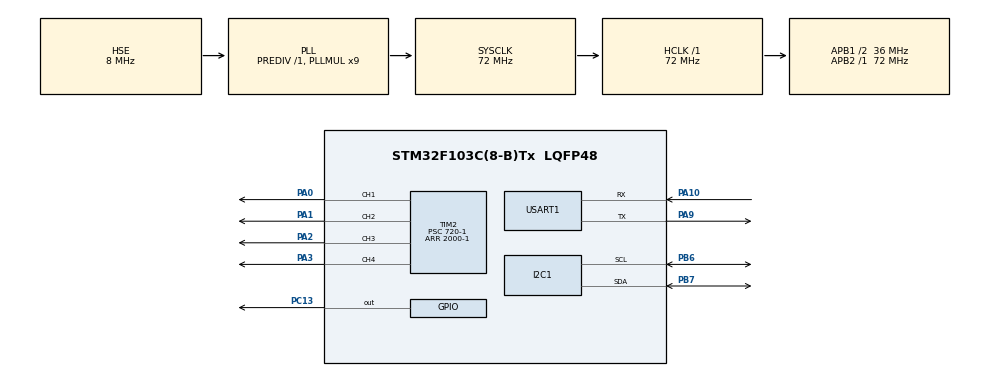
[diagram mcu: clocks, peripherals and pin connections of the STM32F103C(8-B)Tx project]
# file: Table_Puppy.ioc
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Dma.Request0=USART1_RX
Dma.Request1=USART1_TX
Dma.USART1_RX.0.Direction=DMA_PERIPH_TO_MEMORY
Dma.USART1_RX.0.Instance=DMA1_Channel5
Dma.USART1_RX.0.MemDataAlignment=DMA_MDATAALIGN_BYTE
Dma.USART1_RX.0.MemInc=DMA_MINC_ENABLE
Dma.USART1_RX.0.Mode=DMA_NORMAL
Dma.USART1_RX.0.PeriphDataAlignment=DMA_PDATAALIGN_BYTE
Dma.USART1_RX.0.PeriphInc=DMA_PINC_DISABLE
Dma.USART1_RX.0.Priority=DMA_PRIORITY_LOW
Dma.USART1_TX.1.Direction=DMA_MEMORY_TO_PERIPH
Dma.USART1_TX.1.Instance=DMA1_Channel4
Dma.USART1_TX.1.MemDataAlignment=DMA_MDATAALIGN_BYTE
Dma.USART1_TX.1.MemInc=DMA_MINC_ENABLE
Dma.USART1_TX.1.Mode=DMA_NORMAL
Dma.USART1_TX.1.PeriphDataAlignment=DMA_PDATAALIGN_BYTE
Dma.USART1_TX.1.PeriphInc=DMA_PINC_DISABLE
Dma.USART1_TX.1.Priority=DMA_PRIORITY_LOW
I2C1.I2C_Mode=I2C_Fast
Mcu.Family=STM32F1
Mcu.Name=STM32F103C(8-B)Tx
Mcu.Package=LQFP48
NVIC.DMA1_Channel4_IRQn=true\:0\:0\:false\:false\:true\:false\:true\:true
NVIC.DMA1_Channel5_IRQn=true\:0\:0\:false\:false\:true\:false\:true\:true
NVIC.PriorityGroup=NVIC_PRIORITYGROUP_4
NVIC.USART1_IRQn=true\:0\:0\:false\:false\:true\:false\:true\:true
PA0-WKUP.Signal=S_TIM2_CH1_ETR
PA1.Signal=S_TIM2_CH2
PA10.Mode=Asynchronous
PA10.Signal=USART1_RX
PA13.Mode=Serial_Wire
PA13.Signal=SYS_JTMS-SWDIO
PA14.Mode=Serial_Wire
PA14.Signal=SYS_JTCK-SWCLK
PA2.Signal=S_TIM2_CH3
PA3.Signal=S_TIM2_CH4
PA9.Mode=Asynchronous
PA9.Signal=USART1_TX
PB6.Mode=I2C
PB6.Signal=I2C1_SCL
PB7.Mode=I2C
PB7.Signal=I2C1_SDA
PC13-TAMPER-RTC.Signal=GPIO_Output
PD0-OSC_IN.Mode=HSE-External-Oscillator
PD0-OSC_IN.Signal=RCC_OSC_IN
PD1-OSC_OUT.Mode=HSE-External-Oscillator
PD1-OSC_OUT.Signal=RCC_OSC_OUT
ProjectManager.HeapSize=0x200
ProjectManager.StackSize=0x400
ProjectManager.TargetToolchain=MDK-ARM V5.32
RCC.AHBFreq_Value=72000000
RCC.APB1CLKDivider=RCC_HCLK_DIV2
RCC.APB1Freq_Value=36000000
RCC.APB1TimFreq_Value=72000000
RCC.APB2Freq_Value=72000000
RCC.APB2TimFreq_Value=72000000
RCC.HCLKFreq_Value=72000000
RCC.PLLMUL=RCC_PLL_MUL9
RCC.PLLSourceVirtual=RCC_PLLSOURCE_HSE
RCC.SYSCLKFreq_VALUE=72000000
RCC.SYSCLKSource=RCC_SYSCLKSOURCE_PLLCLK
RCC.USBFreq_Value=72000000
SH.S_TIM2_CH1_ETR.0=TIM2_CH1,PWM Generation1 CH1
SH.S_TIM2_CH2.0=TIM2_CH2,PWM Generation2 CH2
SH.S_TIM2_CH3.0=TIM2_CH3,PWM Generation3 CH3
SH.S_TIM2_CH4.0=TIM2_CH4,PWM Generation4 CH4
TIM2.Channel-PWM\ Generation1\ CH1=TIM_CHANNEL_1
TIM2.Channel-PWM\ Generation2\ CH2=TIM_CHANNEL_2
TIM2.Channel-PWM\ Generation3\ CH3=TIM_CHANNEL_3
TIM2.Channel-PWM\ Generation4\ CH4=TIM_CHANNEL_4
TIM2.Period=2000-1
TIM2.Prescaler=720-1
USART1.VirtualMode=VM_ASYNC
VP_TIM2_VS_ClockSourceINT.Mode=Internal
board=custom

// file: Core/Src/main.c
/* USER CODE BEGIN Header */
/**
  ******************************************************************************
  * @file           : main.c
  * @brief          : Main program body
  ******************************************************************************
  * @attention
  *
  * Copyright (c) 2024 STMicroelectronics.
  * All rights reserved.
  *
  * This software is licensed under terms that can be found in the LICENSE file
  * in the root directory of this software component.
  * If no LICENSE file comes with this software, it is provided AS-IS.
  *
  ******************************************************************************
  */
/* USER CODE END Header */
#include "main.h"
#include "dma.h"
#include "i2c.h"
#include "tim.h"
#include "usart.h"
#include "gpio.h"

/* USER CODE BEGIN Includes */
#include "oled.h"
/* USER CODE END Includes */

/* USER CODE BEGIN PTD */
uint8_t bluetoothBuff[50]; // 蓝牙接收数据
                           // eg:  0xAA 0x04 0x01 0xAF;
                           // 说明: 包头  包长  指令  校验和
/* USER CODE END PTD */

/* USER CODE BEGIN PD */
void HAL_UARTEx_RxEventCallback(UART_HandleTypeDef *huart, uint16_t Size)
{
  uint8_t sum = 0;  // 数据包校验和
  uint8_t flag = 0; // 校验成功标志
  if (huart->Instance == USART1)
  {
    if (bluetoothBuff[0] == 0xAA && bluetoothBuff[1] == Size) // 校验数据包
    {
      for (int i = 0; i < Size - 1; i++)
      {
        sum += bluetoothBuff[i];
      }
      if (sum == bluetoothBuff[Size - 1])
      {
        flag = 1;
      }
    }
    if (flag)
    {
      for (int i = 2; i < Size - 1; i++)
      {
        switch (bluetoothBuff[i])
        {

        case 0x01:
          HAL_Delay(100);
          break;

        default:
          break;
        }
      }
      flag = 0;
    }

    HAL_UARTEx_ReceiveToIdle_DMA(&huart1, bluetoothBuff, sizeof(bluetoothBuff));
    __HAL_DMA_DISABLE_IT(&hdma_usart1_rx, DMA_IT_HT);
  }
}
/* USER CODE END PD */

void SystemClock_Config(void);

int main(void)
{

  /* MCU Configuration--------------------------------------------------------*/

  /* Reset of all peripherals, Initializes the Flash interface and the Systick. */
  HAL_Init();

  /* Configure the system clock */
  SystemClock_Config();

  /* Initialize all configured peripherals */
  MX_GPIO_Init();
  MX_DMA_Init();
  MX_TIM2_Init();
  MX_USART1_UART_Init();
  MX_I2C1_Init();
  /* USER CODE BEGIN 2 */
  HAL_TIM_PWM_Start(&htim2,TIM_CHANNEL_1);
  HAL_TIM_PWM_Start(&htim2,TIM_CHANNEL_2);
  HAL_TIM_PWM_Start(&htim2,TIM_CHANNEL_3);
  HAL_TIM_PWM_Start(&htim2,TIM_CHANNEL_4);

  __HAL_UART_ENABLE_IT(&huart1, UART_IT_IDLE);
  HAL_UARTEx_ReceiveToIdle_DMA(&huart1, bluetoothBuff, sizeof(bluetoothBuff));
  __HAL_DMA_DISABLE_IT(&hdma_usart1_rx, DMA_IT_HT);

  OLED_Init();

  /* USER CODE END 2 */

  /* Infinite loop */
  /* USER CODE BEGIN WHILE */
  while (1)
  {

    OLED_NewFrame();
    OLED_DrawImage(20, 0, &littledog3Img, OLED_COLOR_NORMAL);
    OLED_ShowFrame();

    /* USER CODE END WHILE */

  }
}

void SystemClock_Config(void)
{
  RCC_OscInitTypeDef RCC_OscInitStruct = {0};
  RCC_ClkInitTypeDef RCC_ClkInitStruct = {0};

  /** Initializes the RCC Oscillators according to the specified parameters
  * in the RCC_OscInitTypeDef structure.
  */
  RCC_OscInitStruct.OscillatorType = RCC_OSCILLATORTYPE_HSE;
  RCC_OscInitStruct.HSEState = RCC_HSE_ON;
  RCC_OscInitStruct.HSEPredivValue = RCC_HSE_PREDIV_DIV1;
  RCC_OscInitStruct.HSIState = RCC_HSI_ON;
  RCC_OscInitStruct.PLL.PLLState = RCC_PLL_ON;
  RCC_OscInitStruct.PLL.PLLSource = RCC_PLLSOURCE_HSE;
  RCC_OscInitStruct.PLL.PLLMUL = RCC_PLL_MUL9;
  if (HAL_RCC_OscConfig(&RCC_OscInitStruct) != HAL_OK)
  {
    Error_Handler();
  }

  /** Initializes the CPU, AHB and APB buses clocks
  */
  RCC_ClkInitStruct.ClockType = RCC_CLOCKTYPE_HCLK|RCC_CLOCKTYPE_SYSCLK
                              |RCC_CLOCKTYPE_PCLK1|RCC_CLOCKTYPE_PCLK2;
  RCC_ClkInitStruct.SYSCLKSource = RCC_SYSCLKSOURCE_PLLCLK;
  RCC_ClkInitStruct.AHBCLKDivider = RCC_SYSCLK_DIV1;
  RCC_ClkInitStruct.APB1CLKDivider = RCC_HCLK_DIV2;
  RCC_ClkInitStruct.APB2CLKDivider = RCC_HCLK_DIV1;

  if (HAL_RCC_ClockConfig(&RCC_ClkInitStruct, FLASH_LATENCY_2) != HAL_OK)
  {
    Error_Handler();
  }
}

void Error_Handler(void)
{
  __disable_irq();
  while (1)
  {
  }
}
